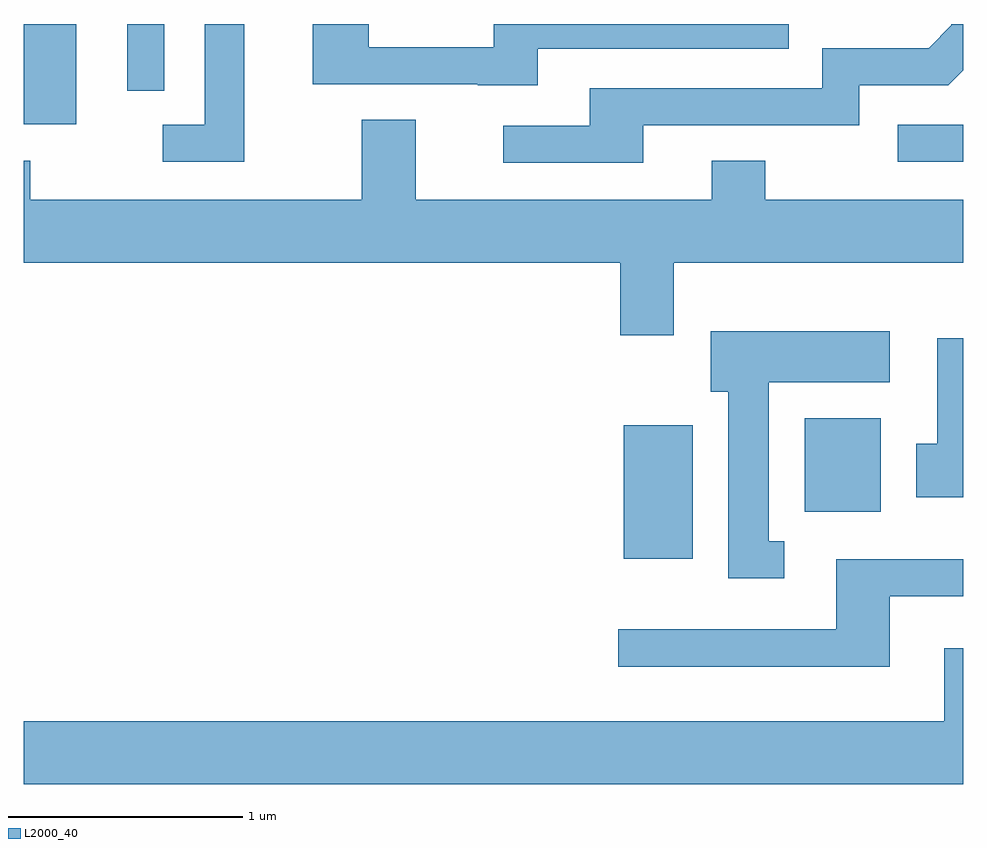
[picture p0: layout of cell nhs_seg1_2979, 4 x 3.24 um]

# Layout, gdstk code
import gdstk
lib = gdstk.Library(unit=1e-6, precision=1e-09)
def R(c, l, rs):  # rectangles x0, y0, x1, y1
    for r in rs: c.add(gdstk.rectangle(r[:2], r[2:], *l))
def P(c, l, *ps):  # polygons
    for p in ps: c.add(gdstk.Polygon(p, *l))
L2000_40 = (2000, 40)

nhs_seg1_2979 = lib.new_cell('nhs_seg1_2979')
R(nhs_seg1_2979, L2000_40, [(278.166,889.436,278.459,890.004), (278.936,889.636,279.259,890.034), (279.333,891.126,279.611,891.284), (275.611,891.286,275.834,891.712), (276.051,891.428,276.209,891.712)])
P(nhs_seg1_2979, L2000_40, [(277.799,891.606),(278.868,891.606),(278.868,891.712),(277.611,891.712),(277.611,891.614),(277.079,891.614),(277.079,891.712),(276.841,891.712),(276.841,891.456),(277.545,891.456),(277.545,891.451),(277.799,891.451)],
  [(278.249,891.281),(279.169,891.281),(279.169,891.451),(279.547,891.451),(279.611,891.515),(279.611,891.712),(279.561,891.712),(279.561,891.707),(279.464,891.609),(279.011,891.609),(279.011,891.439),(278.021,891.439),(278.021,891.279),(277.653,891.279),(277.653,891.121),(278.249,891.121)],
  [(276.549,891.712),(276.381,891.712),(276.381,891.284),(276.203,891.284),(276.203,891.126),(276.549,891.126)],
  [(278.379,890.696),(279.611,890.696),(279.611,890.964),(278.769,890.964),(278.769,891.129),(278.541,891.129),(278.541,890.964),(277.279,890.964),(277.279,891.304),(277.051,891.304),(277.051,890.964),(275.639,890.964),(275.639,891.129),(275.611,891.129),(275.611,890.696),(278.151,890.696),(278.151,890.386),(278.379,890.386)],
  [(278.848,889.509),(278.784,889.509),(278.784,890.186),(279.299,890.186),(279.299,890.404),(278.536,890.404),(278.536,890.146),(278.611,890.146),(278.611,889.351),(278.848,889.351)],
  [(279.611,890.374),(279.501,890.374),(279.501,889.924),(279.411,889.924),(279.411,889.696),(279.611,889.696)],
  [(279.299,889.276),(279.611,889.276),(279.611,889.434),(279.071,889.434),(279.071,889.134),(278.143,889.134),(278.143,888.976),(279.299,888.976)],
  [(279.611,889.054),(279.531,889.054),(279.531,888.744),(275.611,888.744),(275.611,888.476),(279.611,888.476)])

lib.write_gds('nhs_seg1_2979.gds')
